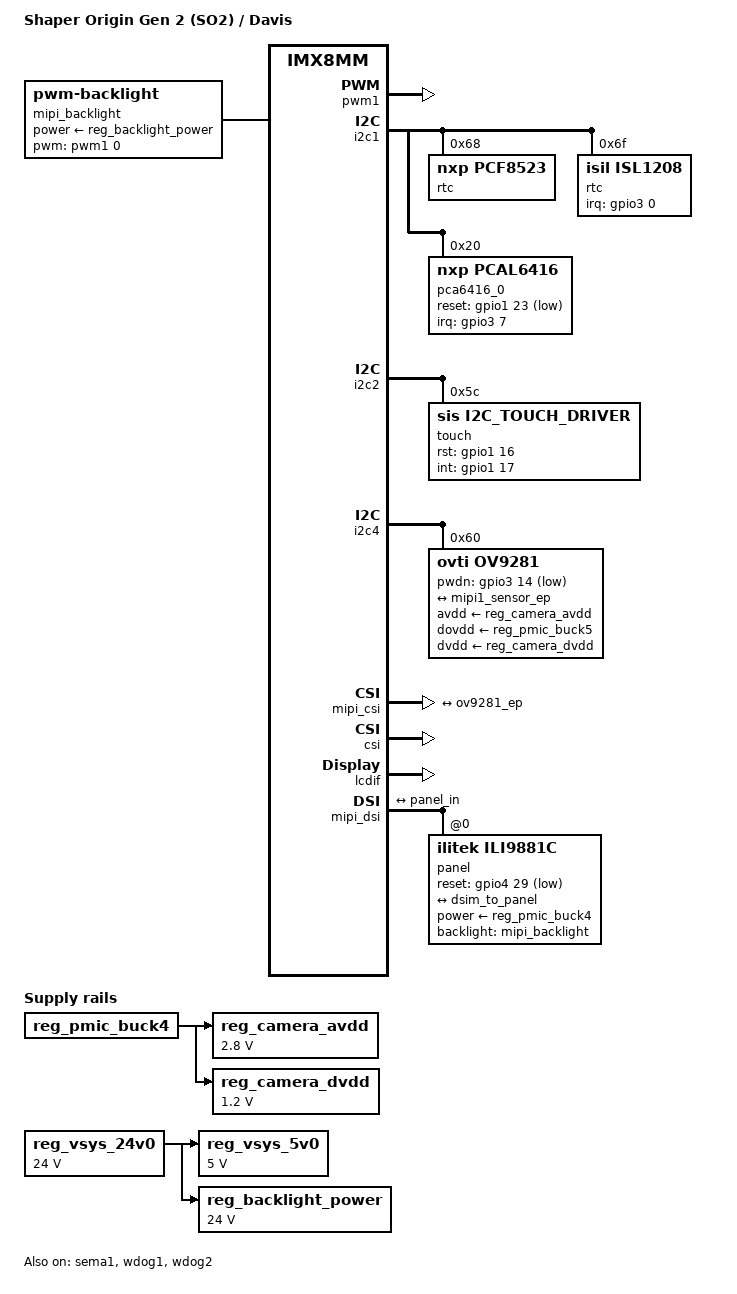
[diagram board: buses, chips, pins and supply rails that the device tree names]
// SPDX-License-Identifier: GPL-2.0+
/*
 * Copyright 2025 Shaper Tools, Inc.
 * - Jeremy Blum <jeremy@shapertools.com>
 * - Donald Carr <donald@shapertools.com>
 * - Stephen Street <stephen@shapertools.com>
 * - Julian Sourivongs <julians@shapertools.com>
 * Copyright 2018 NXP
 */

/dts-v1/;

#include "imx8mm-blade-1.dtsi"

/ {
	model = "Shaper Origin Gen 2 (SO2) / Davis";

	/* 24V Power from AC/DC on Davis Power Board */
	reg_vsys_24v0: regulator-vsys-24v0 {
		regulator-name = "VSYS_24V0";
		compatible = "regulator-fixed";
		regulator-max-microvolt = <24000000>;
		regulator-min-microvolt = <24000000>;
		regulator-boot-on;
		regulator-always-on;
	};

	/* 5V0 Power from SMPS on Davis Power Board. It is supplied from the 24V AC/DC */
	reg_vsys_5v0: regulator-vsys-5v0 {
		regulator-name = "VSYS_5V0";
		compatible = "regulator-fixed";
		regulator-max-microvolt = <5000000>;
		regulator-min-microvolt = <5000000>;
		regulator-boot-on;
		regulator-always-on;
		vin-supply = <&reg_vsys_24v0>;
	};

	/* Camera AVDD is generated by a fixed regulator on the vision board supplied from the Blade 1's 3.3V Rail */
	reg_camera_avdd: regulator-camera-avdd {
		regulator-name = "VDD_2V8_CAM";
		compatible = "regulator-fixed";
		regulator-max-microvolt = <2800000>;
		regulator-min-microvolt = <2800000>;
		regulator-boot-on;
		regulator-always-on;
		vin-supply = <&reg_pmic_buck4>;
	};

	/* Camera DVDD is generated by a fixed regulator on the vision board supplied from the Blade 1's 3.3V Rail */
	reg_camera_dvdd: regulator-camera-dvdd {
		regulator-name = "VDD_1V2_CAM";
		compatible = "regulator-fixed";
		regulator-max-microvolt = <1200000>;
		regulator-min-microvolt = <1200000>;
		regulator-boot-on;
		regulator-always-on;
		vin-supply = <&reg_pmic_buck4>;
	};

	/* Constant current driver for backlight is derived by 24V AC/DC */
	reg_backlight_power: regulator-backlight-power {
		regulator-name = "VSYS_24V0-BACKLIGHT";
		compatible = "regulator-fixed";
		regulator-max-microvolt = <24000000>;
		regulator-min-microvolt = <24000000>;
		regulator-boot-on;
		regulator-always-on;
		vin-supply = <&reg_vsys_24v0>;
	};

	mipi_backlight: mipi_backlight {
		compatible = "pwm-backlight";
		pwms = <&pwm1 0 20000 0>;
		status = "okay";
		power-supply = <&reg_backlight_power>;
		brightness-levels = < 0 99 >;
		num-interpolated-steps = < 100 >;
	default-brightness-level = <99>;
	};
};

&resmem {
        linux,cma {
                size = <0 0x14000000>;   /* 320 MiB */
        };
};

&ocotp {
	/delete-node/ fec_mac_address;
	fec_mac_address: mac-address@90 { /* 0x640 */
		reg = <0x90 8>; /* align to 32-bit words for nvmem */
	};
};

&pwm1 {
	pinctrl-names = "default";
	pinctrl-0 = <&pinctrl_mipi_bl>;
	status = "okay";
};

&flexspi {
	status = "disabled";
};

&i2c1 {
	/*
	 * NXP PCF8523 is going EOL, so we expect to switch over to the Renesas ISL1208 RTC
	 * See DAVIS-446
	 * Rev G MLB Fabs move to the Renesas Part
	 * Kernel Probe failure is expected for whichever part is not populated
	 * We could do a userspace probe to only load the correct one based on board ID, but this is fine.
	 * The ISL1208 IRQ is routed to GPIO3_IO00 with an external 1.8V pull-up so we enable it here.
	 */
	rtc@68 {
		compatible = "nxp,pcf8523";
		reg = <0x68>;
	};

	rtc@6f {
		compatible = "isil,isl1208";
		reg = <0x6f>;
		pinctrl-names = "default";
		pinctrl-0 = <&pinctrl_rtc_isl1208>;
		interrupt-names = "irq";
		interrupt-parent = <&gpio3>;
		interrupts = <0 IRQ_TYPE_EDGE_FALLING>;
		wakeup-source;
	};

	pca6416_0: gpio@20 {
		compatible = "nxp,pcal6416";
		#gpio-cells = <2>;
		gpio-controller;
		reg = <0x20>;
		interrupt-parent = <&gpio3>;
		interrupts = <7 IRQ_TYPE_EDGE_FALLING>;
		interrupt-controller;
		reset-gpios = <&gpio1 23 GPIO_ACTIVE_LOW>;
		gpio-line-names =
			"MLB_ID_3",
			"MLB_ID_2",
			"MLB_ID_1",
			"MLB_ID_0",
			"PWR_ID_1",
			"PWR_ID_0",
			"LCD_ID_1",
			"LCD_ID_0",
			"Z_ID_1",
			"Z_ID_0",
			"EXP_ID_1",
			"EXP_ID_0",
			"NC_3",
			"NC_2",
			"NC_1",
			"NC_0";
	};
};

&i2c2 {
	touch@5c {
		compatible = "sis,i2c_touch_driver";
		reg = <0x5c>;
		sis,rst-gpio = <&gpio1 16 0>;
		sis,int-gpio = <&gpio1 17 0>;
	};
};

&sema1 {
	status = "ok";
};

/*
 * Keep the 32k clock running for the Murata 1MW BT wake/sleep clock path.
 * Without this, userspace hciattach bring-up is unreliable on Davis.
 */
&clk {
	init-on-array = <IMX8MM_CLK_32K>;
};


/*
&sema1 {
	status = "ok";
};*/

/* GPIO5 is owned exclusively by the M4 Core, and is therefore disabled in the Linux kernel config to prevent lockup due to improper sharing */
&gpio5 {
	status = "disabled";
};

&gpio4 {
	hwspinlock = <3>;
	/delete-property/ interrupt-controller;
	status = "ok";
};

&wdog1 {
	status = "ok";
};

&wdog2 {
	status = "ok";
};

&i2c4 {
	ov9281: ov9281@60 {
		status = "okay";
		compatible = "ovti,ov9281";
		reg = <0x60>;
		pinctrl-names = "default";
		pinctrl-0 = <&pinctrl_csi_pwdn>;
		clocks = <&clk IMX8MM_CLK_CLKO2>;
		clock-names = "xvclk";
		assigned-clocks = <&clk IMX8MM_CLK_CLKO2>;
		assigned-clock-parents = <&clk IMX8MM_CLK_24M>;
		assigned-clock-rates = <24000000>;
		csi_id = <0>;
		pwdn-gpio = <&gpio3 14 GPIO_ACTIVE_LOW>;
		mclk = <24000000>;
		mclk_source = <0>;
		avdd-supply = <&reg_camera_avdd>;  /* The Analog Rail of the camera is powered by a regulator on the Camera board. */
		dovdd-supply = <&reg_pmic_buck5>;  /* The Digital I/O Rail of the camera is powered by VDD_1V8 (PMIC BUCK5 Output) */
		dvdd-supply = <&reg_camera_dvdd>;  /* The Digital Core Rail of the camera is powered by a regulator on the Camera board. */
		port {
			ov9281_ep: endpoint {
				remote-endpoint = <&mipi1_sensor_ep>;
				data-lanes = <1 2>;
				link-frequencies = /bits/ 64 <400000000>;
			};
		};
	};
};

&mipi_csi {
	status = "okay";
	/* The MIPI PHY is powered by VDD_MIPI_0P9 (PMIC LDO4 Output) on the Blade 1 SOM
	 * However, the mxc_mipi_csi.c driver is used for used for this, which is also used for the i.MX7
	 * The i.MX7 MIPI Phy voltage is 1.0, whereas it is 0.9V for the i.MX8MM.
	 * The driver tries to set the voltage to 1.0V, which fails as our regulator is configured to allow a max of 0.9V.
	 * Therefore, the following line is left commented out for now, resulting in a "dummy regulator warning" in DMESG.
	 */
	/* mipi-phy-supply = <&reg_pmic_ldo4>; */
	ports {
		port@0 {
			reg = <0>;
			mipi1_sensor_ep: endpoint {
				remote-endpoint = <&ov9281_ep>;
				csis-hs-settle = <13>;
				csis-clk-settle = <2>;
				csis-wclk;
				data-lanes = <1 2>;
			};
		};
	};
};

&csi {
	fsl,mipi-mode;
	dma-coherent;
	status = "okay";
};

&lcdif {
	status = "okay";
};

&mipi_dsi {
	status = "okay";

	/* Output port to the DSI panel */
	port@1 {
		reg = <1>;
		dsim_to_panel: endpoint {
			attach-bridge;
			remote-endpoint = <&panel_in>;
		};
	};

	panel@0 {
		compatible = "ilitek,ili9881c", "shaper,davis-panel";
		reg = <0>;
		power-supply = <&reg_pmic_buck4>;  /* The Display is powered by VDD_3V3 (PMIC BUCK4 Output) */
		backlight = <&mipi_backlight>;
		pinctrl-0 = <&pinctrl_mipi_dsi_en>;
		reset-gpios = <&gpio4 29 GPIO_ACTIVE_LOW>;
		dsi-lanes = <4>;
		video-mode = <2>; /* 0: burst mode
				   * 1: non-burst mode with sync event
				   * 2: non-burst mode with sync pulse
				   */
		panel-width-mm = <68>;
		panel-height-mm = <121>;
		rotation = <90>;
		status = "okay";

		ports {
			#address-cells = <1>;
			#size-cells = <0>;

			port@0 {
				reg = <0>;
				panel_in: endpoint {
					remote-endpoint = <&dsim_to_panel>;
				};
			};
		};
	};
};

&iomuxc {
	pinctrl-names = "default";

	pinctrl_csi_pwdn: csi_pwdn_grp {
		fsl,pins = <
			MX8MM_IOMUXC_NAND_DQS_GPIO3_IO14    0x19
			MX8MM_IOMUXC_GPIO1_IO15_CCMSRCGPCMIX_CLKO2	0x59
		>;
	};

	pinctrl_mipi_dsi_en: mipi_dsi_en {
		fsl,pins = <
			MX8MM_IOMUXC_SAI3_RXC_GPIO4_IO29		0x16
			MX8MM_IOMUXC_SAI1_RXD4_GPIO4_IO6		0x16
		>;
	};

	pinctrl_mipi_bl: mipibacklightgrp {
		fsl,pins = <
			MX8MM_IOMUXC_GPIO1_IO01_PWM1_OUT            0x16
		>;
	};
};

&{/busfreq} {
	/* TF-A build lacks DDR DVFS hooks, so keep busfreq driver disabled */
	status = "disabled";
};
